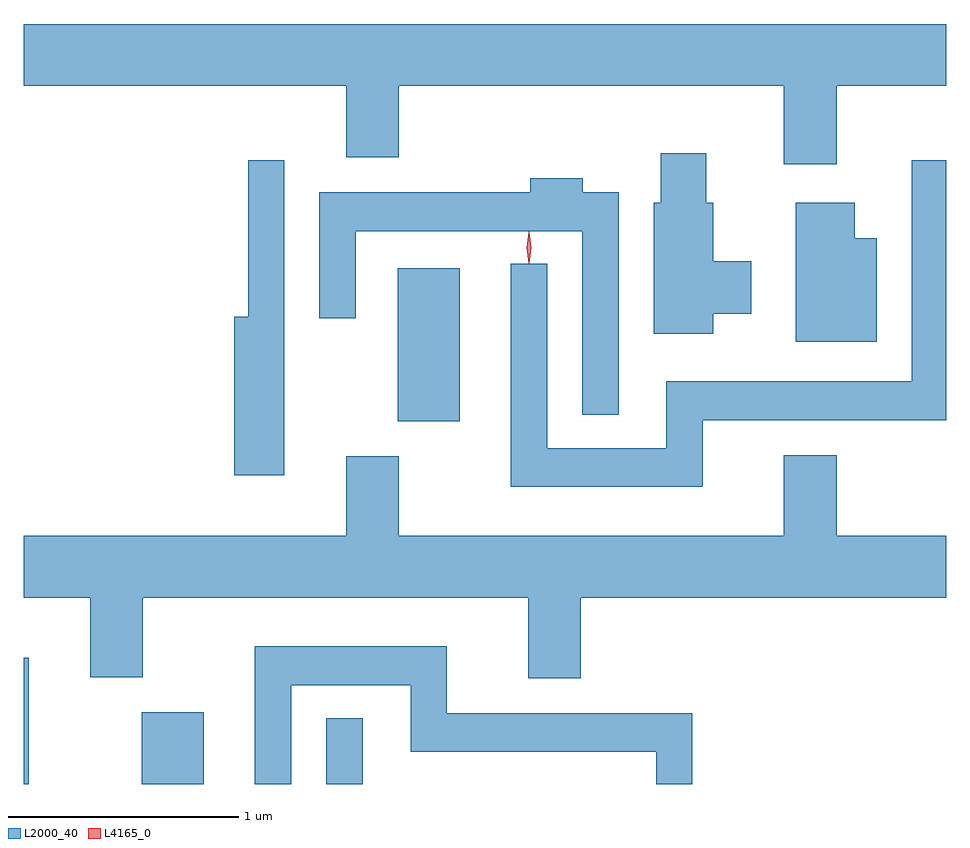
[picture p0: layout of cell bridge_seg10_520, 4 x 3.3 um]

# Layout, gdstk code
import gdstk
lib = gdstk.Library(unit=1e-6, precision=1e-09)
def R(c, l, rs):  # rectangles x0, y0, x1, y1
    for r in rs: c.add(gdstk.rectangle(r[:2], r[2:], *l))
def P(c, l, *ps):  # polygons
    for p in ps: c.add(gdstk.Polygon(p, *l))
L2000_40 = (2000, 40)
L4165_0 = (4165, 0)

bridge_seg10_520 = lib.new_cell('bridge_seg10_520')
R(bridge_seg10_520, L2000_40, [(769.384,2175.267,769.404,2175.814), (769.896,2175.267,770.164,2175.579), (770.696,2175.267,770.854,2175.553), (771.006,2176.841,771.274,2177.504)])
P(bridge_seg10_520, L2000_40, [(772.909,2178.296),(773.384,2178.296),(773.384,2178.564),(769.384,2178.564),(769.384,2178.296),(770.781,2178.296),(770.781,2177.986),(771.009,2177.986),(771.009,2178.296),(772.681,2178.296),(772.681,2177.956),(772.909,2177.956)],
  [(772.374,2177.306),(772.539,2177.306),(772.539,2177.534),(772.374,2177.534),(772.374,2177.789),(772.344,2177.789),(772.344,2178.004),(772.146,2178.004),(772.146,2177.789),(772.116,2177.789),(772.116,2177.221),(772.374,2177.221)],
  [(770.514,2177.973),(770.356,2177.973),(770.356,2177.294),(770.296,2177.294),(770.296,2176.606),(770.514,2176.606)],
  [(772.329,2176.846),(773.384,2176.846),(773.384,2177.973),(773.236,2177.973),(773.236,2177.014),(772.171,2177.014),(772.171,2176.724),(771.654,2176.724),(771.654,2177.523),(771.496,2177.523),(771.496,2176.556),(772.329,2176.556)],
  [(771.964,2177.834),(771.809,2177.834),(771.809,2177.894),(771.581,2177.894),(771.581,2177.834),(770.666,2177.834),(770.666,2177.288),(770.824,2177.288),(770.824,2177.666),(771.806,2177.666),(771.806,2176.868),(771.964,2176.868)],
  [(773.084,2177.634),(772.989,2177.634),(772.989,2177.789),(772.731,2177.789),(772.731,2177.186),(773.084,2177.186)],
  [(771.799,2176.076),(773.384,2176.076),(773.384,2176.344),(772.909,2176.344),(772.909,2176.694),(772.681,2176.694),(772.681,2176.344),(771.009,2176.344),(771.009,2176.689),(770.781,2176.689),(770.781,2176.344),(769.384,2176.344),(769.384,2176.076),(769.671,2176.076),(769.671,2175.731),(769.899,2175.731),(769.899,2176.076),(771.571,2176.076),(771.571,2175.726),(771.799,2175.726)],
  [(770.544,2175.696),(771.061,2175.696),(771.061,2175.406),(772.126,2175.406),(772.126,2175.267),(772.284,2175.267),(772.284,2175.574),(771.219,2175.574),(771.219,2175.864),(770.386,2175.864),(770.386,2175.267),(770.544,2175.267)])
P(bridge_seg10_520, L4165_0, [(771.574,2177.524),(771.565,2177.593),(771.574,2177.662),(771.575,2177.663),(771.576,2177.662),(771.585,2177.593),(771.576,2177.524),(771.575,2177.524)],
  [(771.575,2177.527),(771.574,2177.528),(771.565,2177.594),(771.574,2177.66),(771.575,2177.66),(771.576,2177.66),(771.585,2177.594),(771.575,2177.528)])

lib.write_gds('bridge_seg10_520.gds')
